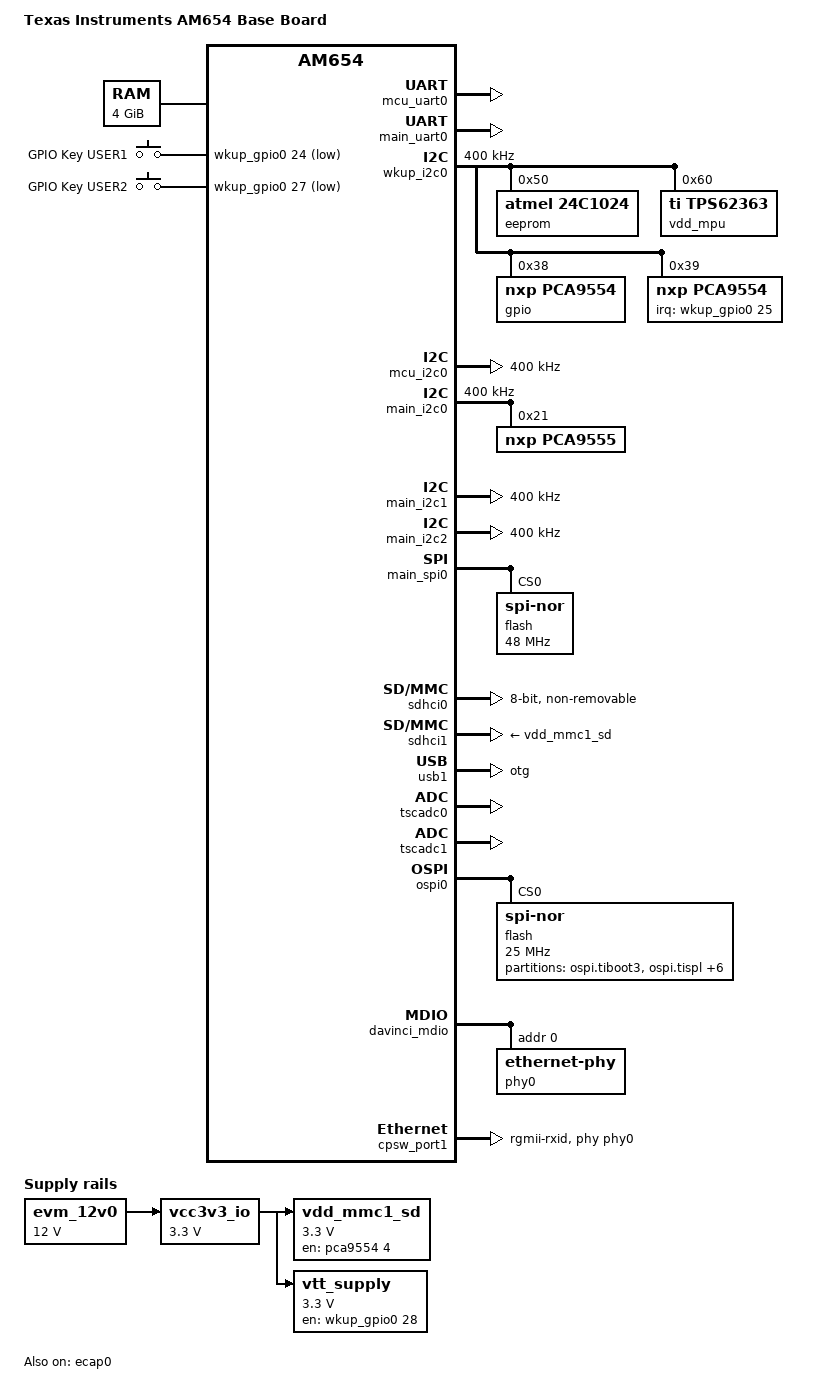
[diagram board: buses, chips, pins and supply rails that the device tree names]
// SPDX-License-Identifier: GPL-2.0-only OR MIT
/*
 * Copyright (C) 2016-2024 Texas Instruments Incorporated - https://www.ti.com/
 */

/dts-v1/;

#include "k3-am654.dtsi"
#include <dt-bindings/input/input.h>
#include <dt-bindings/net/ti-dp83867.h>

/ {
	compatible = "ti,am654-evm", "ti,am654";
	model = "Texas Instruments AM654 Base Board";

	aliases {
		serial0 = &wkup_uart0;
		serial1 = &mcu_uart0;
		serial2 = &main_uart0;
		i2c0 = &wkup_i2c0;
		i2c1 = &mcu_i2c0;
		i2c2 = &main_i2c0;
		i2c3 = &main_i2c1;
		i2c4 = &main_i2c2;
		ethernet0 = &cpsw_port1;
		mmc0 = &sdhci0;
		mmc1 = &sdhci1;
	};

	chosen {
		stdout-path = "serial2:115200n8";
	};

	memory@80000000 {
		device_type = "memory";
		bootph-all;
		/* 4G RAM */
		reg = <0x00000000 0x80000000 0x00000000 0x80000000>,
		      <0x00000008 0x80000000 0x00000000 0x80000000>;
	};

	reserved-memory {
		#address-cells = <2>;
		#size-cells = <2>;
		ranges;

		secure_ddr: secure-ddr@9e800000 {
			reg = <0 0x9e800000 0 0x01800000>; /* for OP-TEE */
			alignment = <0x1000>;
			no-map;
		};

		mcu_r5fss0_core0_dma_memory_region: r5f-dma-memory@a0000000 {
			compatible = "shared-dma-pool";
			reg = <0 0xa0000000 0 0x100000>;
			no-map;
		};

		mcu_r5fss0_core0_memory_region: r5f-memory@a0100000 {
			compatible = "shared-dma-pool";
			reg = <0 0xa0100000 0 0xf00000>;
			no-map;
		};

		mcu_r5fss0_core1_dma_memory_region: r5f-dma-memory@a1000000 {
			compatible = "shared-dma-pool";
			reg = <0 0xa1000000 0 0x100000>;
			no-map;
		};

		mcu_r5fss0_core1_memory_region: r5f-memory@a1100000 {
			compatible = "shared-dma-pool";
			reg = <0 0xa1100000 0 0xf00000>;
			no-map;
		};

		rtos_ipc_memory_region: ipc-memories@a2000000 {
			reg = <0x00 0xa2000000 0x00 0x00100000>;
			alignment = <0x1000>;
			no-map;
		};
	};

	gpio-keys {
		compatible = "gpio-keys";
		autorepeat;
		pinctrl-names = "default";
		pinctrl-0 = <&push_button_pins_default>;

		switch-5 {
			label = "GPIO Key USER1";
			linux,code = <BTN_0>;
			gpios = <&wkup_gpio0 24 GPIO_ACTIVE_LOW>;
		};

		switch-6 {
			label = "GPIO Key USER2";
			linux,code = <BTN_1>;
			gpios = <&wkup_gpio0 27 GPIO_ACTIVE_LOW>;
		};
	};

	evm_12v0: regulator-0 {
		/* main supply */
		compatible = "regulator-fixed";
		regulator-name = "evm_12v0";
		regulator-min-microvolt = <12000000>;
		regulator-max-microvolt = <12000000>;
		regulator-always-on;
		regulator-boot-on;
	};

	vcc3v3_io: regulator-1 {
		/* Output of TPS54334 */
		compatible = "regulator-fixed";
		regulator-name = "vcc3v3_io";
		regulator-min-microvolt = <3300000>;
		regulator-max-microvolt = <3300000>;
		regulator-always-on;
		regulator-boot-on;
		vin-supply = <&evm_12v0>;
	};

	vdd_mmc1_sd: regulator-2 {
		compatible = "regulator-fixed";
		regulator-name = "vdd_mmc1_sd";
		regulator-min-microvolt = <3300000>;
		regulator-max-microvolt = <3300000>;
		regulator-boot-on;
		enable-active-high;
		vin-supply = <&vcc3v3_io>;
		gpio = <&pca9554 4 GPIO_ACTIVE_HIGH>;
	};

	vtt_supply: regulator-3 {
		compatible = "regulator-fixed";
		regulator-name = "vtt";
		pinctrl-names = "default";
		pinctrl-0 = <&ddr_vtt_pins_default>;
		regulator-min-microvolt = <3300000>;
		regulator-max-microvolt = <3300000>;
		enable-active-high;
		regulator-always-on;
		regulator-boot-on;
		vin-supply = <&vcc3v3_io>;
		gpio = <&wkup_gpio0 28 GPIO_ACTIVE_HIGH>;
	};
};

&wkup_pmx0 {
	wkup_uart0_pins_default: wkup-uart0-default-pins {
		pinctrl-single,pins = <
			AM65X_WKUP_IOPAD(0x00a0, PIN_INPUT, 0)	/* (AB1) WKUP_UART0_RXD */
			AM65X_WKUP_IOPAD(0x00a4, PIN_OUTPUT, 0)	/* (AB5) WKUP_UART0_TXD */
			AM65X_WKUP_IOPAD(0x00c8, PIN_INPUT, 1)	/* (AC2) WKUP_GPIO0_6.WKUP_UART0_CTSn */
			AM65X_WKUP_IOPAD(0x00cc, PIN_OUTPUT, 1)	/* (AC1) WKUP_GPIO0_7.WKUP_UART0_RTSn */
		>;
	};

	ddr_vtt_pins_default: ddr-vtt-default-pins {
		pinctrl-single,pins = <
			AM65X_WKUP_IOPAD(0x0040, PIN_OUTPUT_PULLUP, 7)	/* WKUP_GPIO0_28 */
		>;
	};

	wkup_i2c0_pins_default: wkup-i2c0-default-pins {
		pinctrl-single,pins = <
			AM65X_WKUP_IOPAD(0x00e0, PIN_INPUT, 0) /* (AC7) WKUP_I2C0_SCL */
			AM65X_WKUP_IOPAD(0x00e4, PIN_INPUT, 0) /* (AD6) WKUP_I2C0_SDA */
		>;
	};

	push_button_pins_default: push-button-default-pins {
		pinctrl-single,pins = <
			AM65X_WKUP_IOPAD(0x0030, PIN_INPUT, 7) /* (R5) WKUP_GPIO0_24 */
			AM65X_WKUP_IOPAD(0x003c, PIN_INPUT, 7) /* (P2) WKUP_GPIO0_27 */
		>;
	};

	mcu_fss0_ospi0_pins_default: mcu-fss0-ospi0-default-pins {
		pinctrl-single,pins = <
			AM65X_WKUP_IOPAD(0x0000, PIN_OUTPUT, 0) /* (V1) MCU_OSPI0_CLK */
			AM65X_WKUP_IOPAD(0x0008, PIN_INPUT, 0)	 /* (U2) MCU_OSPI0_DQS */
			AM65X_WKUP_IOPAD(0x000c, PIN_INPUT, 0)  /* (U4) MCU_OSPI0_D0 */
			AM65X_WKUP_IOPAD(0x0010, PIN_INPUT, 0)  /* (U5) MCU_OSPI0_D1 */
			AM65X_WKUP_IOPAD(0x0014, PIN_INPUT, 0)  /* (T2) MCU_OSPI0_D2 */
			AM65X_WKUP_IOPAD(0x0018, PIN_INPUT, 0)  /* (T3) MCU_OSPI0_D3 */
			AM65X_WKUP_IOPAD(0x001c, PIN_INPUT, 0)  /* (T4) MCU_OSPI0_D4 */
			AM65X_WKUP_IOPAD(0x0020, PIN_INPUT, 0)  /* (T5) MCU_OSPI0_D5 */
			AM65X_WKUP_IOPAD(0x0024, PIN_INPUT, 0)  /* (R2) MCU_OSPI0_D6 */
			AM65X_WKUP_IOPAD(0x0028, PIN_INPUT, 0)  /* (R3) MCU_OSPI0_D7 */
			AM65X_WKUP_IOPAD(0x002c, PIN_OUTPUT, 0) /* (R4) MCU_OSPI0_CSn0 */
		>;
	};

	wkup_pca554_default: wkup-pca554-default-pins {
		pinctrl-single,pins = <
			AM65X_WKUP_IOPAD(0x0034, PIN_INPUT, 7) /* (T1) MCU_OSPI1_CLK.WKUP_GPIO0_25 */
		>;
	};

	mcu_uart0_pins_default: mcu-uart0-default-pins {
		pinctrl-single,pins = <
			AM65X_WKUP_IOPAD(0x0044, PIN_INPUT, 4)	/* (P4) MCU_OSPI1_D1.MCU_UART0_RXD */
			AM65X_WKUP_IOPAD(0x0048, PIN_OUTPUT, 4)	/* (P5) MCU_OSPI1_D2.MCU_UART0_TXD */
			AM65X_WKUP_IOPAD(0x004C, PIN_INPUT, 4)	/* (P1) MCU_OSPI1_D3.MCU_UART0_CTSn */
			AM65X_WKUP_IOPAD(0x0054, PIN_OUTPUT, 4)	/* (N3) MCU_OSPI1_CSn1.MCU_UART0_RTSn */
		>;
	};

	mcu_cpsw_pins_default: mcu-cpsw-default-pins {
		pinctrl-single,pins = <
			AM65X_WKUP_IOPAD(0x0058, PIN_OUTPUT, 0) /* (N4) MCU_RGMII1_TX_CTL */
			AM65X_WKUP_IOPAD(0x005c, PIN_INPUT, 0) /* (N5) MCU_RGMII1_RX_CTL */
			AM65X_WKUP_IOPAD(0x0060, PIN_OUTPUT, 0) /* (M2) MCU_RGMII1_TD3 */
			AM65X_WKUP_IOPAD(0x0064, PIN_OUTPUT, 0) /* (M3) MCU_RGMII1_TD2 */
			AM65X_WKUP_IOPAD(0x0068, PIN_OUTPUT, 0) /* (M4) MCU_RGMII1_TD1 */
			AM65X_WKUP_IOPAD(0x006c, PIN_OUTPUT, 0) /* (M5) MCU_RGMII1_TD0 */
			AM65X_WKUP_IOPAD(0x0078, PIN_INPUT, 0) /* (L2) MCU_RGMII1_RD3 */
			AM65X_WKUP_IOPAD(0x007c, PIN_INPUT, 0) /* (L5) MCU_RGMII1_RD2 */
			AM65X_WKUP_IOPAD(0x0080, PIN_INPUT, 0) /* (M6) MCU_RGMII1_RD1 */
			AM65X_WKUP_IOPAD(0x0084, PIN_INPUT, 0) /* (L6) MCU_RGMII1_RD0 */
			AM65X_WKUP_IOPAD(0x0070, PIN_OUTPUT, 0) /* (N1) MCU_RGMII1_TXC */
			AM65X_WKUP_IOPAD(0x0074, PIN_INPUT, 0) /* (M1) MCU_RGMII1_RXC */
		>;
	};

	mcu_mdio_pins_default: mcu-mdio1-default-pins {
		pinctrl-single,pins = <
			AM65X_WKUP_IOPAD(0x008c, PIN_OUTPUT, 0) /* (L1) MCU_MDIO0_MDC */
			AM65X_WKUP_IOPAD(0x0088, PIN_INPUT, 0) /* (L4) MCU_MDIO0_MDIO */
		>;
	};

	mcu_i2c0_pins_default: mcu-i2c0-default-pins {
		pinctrl-single,pins = <
			AM65X_WKUP_IOPAD(0x00e8, PIN_INPUT,  0) /* (AD8) MCU_I2C0_SCL */
			AM65X_WKUP_IOPAD(0x00ec, PIN_INPUT,  0) /* (AD7) MCU_I2C0_SDA */
		>;
	};
};

&main_pmx0 {
	main_uart0_pins_default: main-uart0-default-pins {
		pinctrl-single,pins = <
			AM65X_IOPAD(0x01e4, PIN_INPUT, 0)	/* (AF11) UART0_RXD */
			AM65X_IOPAD(0x01e8, PIN_OUTPUT, 0)	/* (AE11) UART0_TXD */
			AM65X_IOPAD(0x01ec, PIN_INPUT, 0)	/* (AG11) UART0_CTSn */
			AM65X_IOPAD(0x01f0, PIN_OUTPUT, 0)	/* (AD11) UART0_RTSn */
		>;
	};

	main_i2c2_pins_default: main-i2c2-default-pins {
		pinctrl-single,pins = <
			AM65X_IOPAD(0x0074, PIN_INPUT, 5) /* (T27) GPMC0_CSn3.I2C2_SCL */
			AM65X_IOPAD(0x0070, PIN_INPUT, 5) /* (R25) GPMC0_CSn2.I2C2_SDA */
		>;
	};

	main_spi0_pins_default: main-spi0-default-pins {
		pinctrl-single,pins = <
			AM65X_IOPAD(0x01c4, PIN_INPUT, 0) /* (AH13) SPI0_CLK */
			AM65X_IOPAD(0x01c8, PIN_INPUT, 0) /* (AE13) SPI0_D0 */
			AM65X_IOPAD(0x01cc, PIN_INPUT, 0) /* (AD13) SPI0_D1 */
			AM65X_IOPAD(0x01bc, PIN_OUTPUT, 0) /* (AG13) SPI0_CS0 */
		>;
	};

	main_mmc0_pins_default: main-mmc0-default-pins {
		pinctrl-single,pins = <
			AM65X_IOPAD(0x01a8, PIN_INPUT_PULLDOWN, 0) /* (B25) MMC0_CLK */
			AM65X_IOPAD(0x01ac, PIN_INPUT_PULLUP, 0) /* (B27) MMC0_CMD */
			AM65X_IOPAD(0x01a4, PIN_INPUT_PULLUP, 0) /* (A26) MMC0_DAT0 */
			AM65X_IOPAD(0x01a0, PIN_INPUT_PULLUP, 0) /* (E25) MMC0_DAT1 */
			AM65X_IOPAD(0x019c, PIN_INPUT_PULLUP, 0) /* (C26) MMC0_DAT2 */
			AM65X_IOPAD(0x0198, PIN_INPUT_PULLUP, 0) /* (A25) MMC0_DAT3 */
			AM65X_IOPAD(0x0194, PIN_INPUT_PULLUP, 0) /* (E24) MMC0_DAT4 */
			AM65X_IOPAD(0x0190, PIN_INPUT_PULLUP, 0) /* (A24) MMC0_DAT5 */
			AM65X_IOPAD(0x018c, PIN_INPUT_PULLUP, 0) /* (B26) MMC0_DAT6 */
			AM65X_IOPAD(0x0188, PIN_INPUT_PULLUP, 0) /* (D25) MMC0_DAT7 */
			AM65X_IOPAD(0x01b4, PIN_INPUT_PULLUP, 0) /* (A23) MMC0_SDCD */
			AM65X_IOPAD(0x01b0, PIN_INPUT, 0) /* (C25) MMC0_DS */
		>;
	};

	main_mmc1_pins_default: main-mmc1-default-pins {
		pinctrl-single,pins = <
			AM65X_IOPAD(0x02d4, PIN_INPUT_PULLDOWN, 0) /* (C27) MMC1_CLK */
			AM65X_IOPAD(0x02d8, PIN_INPUT_PULLUP, 0) /* (C28) MMC1_CMD */
			AM65X_IOPAD(0x02d0, PIN_INPUT_PULLUP, 0) /* (D28) MMC1_DAT0 */
			AM65X_IOPAD(0x02cc, PIN_INPUT_PULLUP, 0) /* (E27) MMC1_DAT1 */
			AM65X_IOPAD(0x02c8, PIN_INPUT_PULLUP, 0) /* (D26) MMC1_DAT2 */
			AM65X_IOPAD(0x02c4, PIN_INPUT_PULLUP, 0) /* (D27) MMC1_DAT3 */
			AM65X_IOPAD(0x02dc, PIN_INPUT_PULLUP, 0) /* (B24) MMC1_SDCD */
			AM65X_IOPAD(0x02e0, PIN_INPUT, 0) /* (C24) MMC1_SDWP */
		>;
	};

	usb1_pins_default: usb1-default-pins {
		pinctrl-single,pins = <
			AM65X_IOPAD(0x02c0, PIN_OUTPUT, 0) /* (AC8) USB1_DRVVBUS */
		>;
	};
};

&main_pmx1 {
	main_i2c0_pins_default: main-i2c0-default-pins {
		pinctrl-single,pins = <
			AM65X_IOPAD(0x0000, PIN_INPUT, 0) /* (D20) I2C0_SCL */
			AM65X_IOPAD(0x0004, PIN_INPUT, 0) /* (C21) I2C0_SDA */
		>;
	};

	main_i2c1_pins_default: main-i2c1-default-pins {
		pinctrl-single,pins = <
			AM65X_IOPAD(0x0008, PIN_INPUT, 0) /* (B21) I2C1_SCL */
			AM65X_IOPAD(0x000c, PIN_INPUT, 0) /* (E21) I2C1_SDA */
		>;
	};

	ecap0_pins_default: ecap0-default-pins {
		pinctrl-single,pins = <
			AM65X_IOPAD(0x0010, PIN_INPUT, 0) /* (D21) ECAP0_IN_APWM_OUT */
		>;
	};
};

&wkup_uart0 {
	/* Wakeup UART is used by System firmware */
	status = "reserved";
	pinctrl-names = "default";
	pinctrl-0 = <&wkup_uart0_pins_default>;
};

&mcu_uart0 {
	status = "okay";
	pinctrl-names = "default";
	pinctrl-0 = <&mcu_uart0_pins_default>;
};

&main_uart0 {
	status = "okay";
	pinctrl-names = "default";
	pinctrl-0 = <&main_uart0_pins_default>;
	power-domains = <&k3_pds 146 TI_SCI_PD_SHARED>;
};

&wkup_i2c0 {
	status = "okay";
	pinctrl-names = "default";
	pinctrl-0 = <&wkup_i2c0_pins_default>;
	clock-frequency = <400000>;

	eeprom@50 {
		/* AT24CM01 */
		compatible = "atmel,24c1024";
		reg = <0x50>;
	};

	vdd_mpu: regulator@60 {
		compatible = "ti,tps62363";
		reg = <0x60>;
		regulator-name = "VDD_MPU";
		regulator-min-microvolt = <500000>;
		regulator-max-microvolt = <1770000>;
		regulator-always-on;
		regulator-boot-on;
		ti,vsel0-state-high;
		ti,vsel1-state-high;
		ti,enable-vout-discharge;
	};

	gpio@38 {
		compatible = "nxp,pca9554";
		reg = <0x38>;
		gpio-controller;
		#gpio-cells = <2>;
	};

	pca9554: gpio@39 {
		compatible = "nxp,pca9554";
		reg = <0x39>;
		gpio-controller;
		#gpio-cells = <2>;
		pinctrl-names = "default";
		pinctrl-0 = <&wkup_pca554_default>;
		interrupt-parent = <&wkup_gpio0>;
		interrupts = <25 IRQ_TYPE_EDGE_FALLING>;
		interrupt-controller;
		#interrupt-cells = <2>;
	};
};

&mcu_i2c0 {
	status = "okay";
	pinctrl-names = "default";
	pinctrl-0 = <&mcu_i2c0_pins_default>;
	clock-frequency = <400000>;
};

&main_i2c0 {
	status = "okay";
	pinctrl-names = "default";
	pinctrl-0 = <&main_i2c0_pins_default>;
	clock-frequency = <400000>;

	pca9555: gpio@21 {
		compatible = "nxp,pca9555";
		reg = <0x21>;
		gpio-controller;
		#gpio-cells = <2>;
	};
};

&main_i2c1 {
	status = "okay";
	pinctrl-names = "default";
	pinctrl-0 = <&main_i2c1_pins_default>;
	clock-frequency = <400000>;
};

&main_i2c2 {
	status = "okay";
	pinctrl-names = "default";
	pinctrl-0 = <&main_i2c2_pins_default>;
	clock-frequency = <400000>;
};

&ecap0 {
	status = "okay";
	pinctrl-names = "default";
	pinctrl-0 = <&ecap0_pins_default>;
};

&main_spi0 {
	status = "okay";
	pinctrl-names = "default";
	pinctrl-0 = <&main_spi0_pins_default>;
	#address-cells = <1>;
	#size-cells = <0>;
	ti,pindir-d0-out-d1-in;

	flash@0 {
		compatible = "jedec,spi-nor";
		reg = <0x0>;
		spi-tx-bus-width = <1>;
		spi-rx-bus-width = <1>;
		spi-max-frequency = <48000000>;
	};
};

&sdhci0 {
	status = "okay";
	pinctrl-names = "default";
	pinctrl-0 = <&main_mmc0_pins_default>;
	bus-width = <8>;
	non-removable;
	ti,driver-strength-ohm = <50>;
};

/*
 * Because of erratas i2025 and i2026 for silicon revision 1.0, the
 * SD card interface might fail. Boards with sr1.0 are recommended to
 * disable sdhci1
 */
&sdhci1 {
	status = "okay";
	vmmc-supply = <&vdd_mmc1_sd>;
	pinctrl-names = "default";
	pinctrl-0 = <&main_mmc1_pins_default>;
	ti,driver-strength-ohm = <50>;
	disable-wp;
};

&usb1 {
	pinctrl-names = "default";
	pinctrl-0 = <&usb1_pins_default>;
	dr_mode = "otg";
};

&dwc3_0 {
	status = "disabled";
};

&usb0_phy {
	status = "disabled";
};

&tscadc0 {
	status = "okay";
	adc {
		ti,adc-channels = <0 1 2 3 4 5 6 7>;
	};
};

&tscadc1 {
	status = "okay";
	adc {
		ti,adc-channels = <0 1 2 3 4 5 6 7>;
	};
};

&serdes0 {
	status = "disabled";
};

&serdes1 {
	status = "disabled";
};

&mailbox0_cluster0 {
	status = "okay";
	interrupts = <436>;

	mbox_mcu_r5fss0_core0: mbox-mcu-r5fss0-core0 {
		ti,mbox-tx = <1 0 0>;
		ti,mbox-rx = <0 0 0>;
	};
};

&mailbox0_cluster1 {
	status = "okay";
	interrupts = <432>;

	mbox_mcu_r5fss0_core1: mbox-mcu-r5fss0-core1 {
		ti,mbox-tx = <1 0 0>;
		ti,mbox-rx = <0 0 0>;
	};
};

&mcu_r5fss0_core0 {
	memory-region = <&mcu_r5fss0_core0_dma_memory_region>,
			<&mcu_r5fss0_core0_memory_region>;
	mboxes = <&mailbox0_cluster0 &mbox_mcu_r5fss0_core0>;
};

&mcu_r5fss0_core1 {
	memory-region = <&mcu_r5fss0_core1_dma_memory_region>,
			<&mcu_r5fss0_core1_memory_region>;
	mboxes = <&mailbox0_cluster1 &mbox_mcu_r5fss0_core1>;
};

&ospi0 {
	status = "okay";
	pinctrl-names = "default";
	pinctrl-0 = <&mcu_fss0_ospi0_pins_default>;

	flash@0 {
		compatible = "jedec,spi-nor";
		reg = <0x0>;
		spi-tx-bus-width = <8>;
		spi-rx-bus-width = <8>;
		spi-max-frequency = <25000000>;
		cdns,tshsl-ns = <60>;
		cdns,tsd2d-ns = <60>;
		cdns,tchsh-ns = <60>;
		cdns,tslch-ns = <60>;
		cdns,read-delay = <0>;

		partitions {
			compatible = "fixed-partitions";
			#address-cells = <1>;
			#size-cells = <1>;

			partition@0 {
				label = "ospi.tiboot3";
				reg = <0x0 0x80000>;
			};

			partition@80000 {
				label = "ospi.tispl";
				reg = <0x80000 0x200000>;
			};

			partition@280000 {
				label = "ospi.u-boot";
				reg = <0x280000 0x400000>;
			};

			partition@680000 {
				label = "ospi.env";
				reg = <0x680000 0x20000>;
			};

			partition@6a0000 {
				label = "ospi.env.backup";
				reg = <0x6a0000 0x20000>;
			};

			partition@6c0000 {
				label = "ospi.sysfw";
				reg = <0x6c0000 0x100000>;
			};

			partition@800000 {
				label = "ospi.rootfs";
				reg = <0x800000 0x37c0000>;
			};

			partition@3fe0000 {
				label = "ospi.phypattern";
				reg = <0x3fe0000 0x20000>;
			};
		};
	};
};

&mcu_cpsw {
	pinctrl-names = "default";
	pinctrl-0 = <&mcu_cpsw_pins_default>;
};

&davinci_mdio {
	status = "okay";
	pinctrl-names = "default";
	pinctrl-0 = <&mcu_mdio_pins_default>;

	phy0: ethernet-phy@0 {
		reg = <0>;
		ti,rx-internal-delay = <DP83867_RGMIIDCTL_2_00_NS>;
		ti,fifo-depth = <DP83867_PHYCR_FIFO_DEPTH_4_B_NIB>;
	};
};

&cpsw_port1 {
	phy-mode = "rgmii-rxid";
	phy-handle = <&phy0>;
};

&dss {
	status = "disabled";
};
